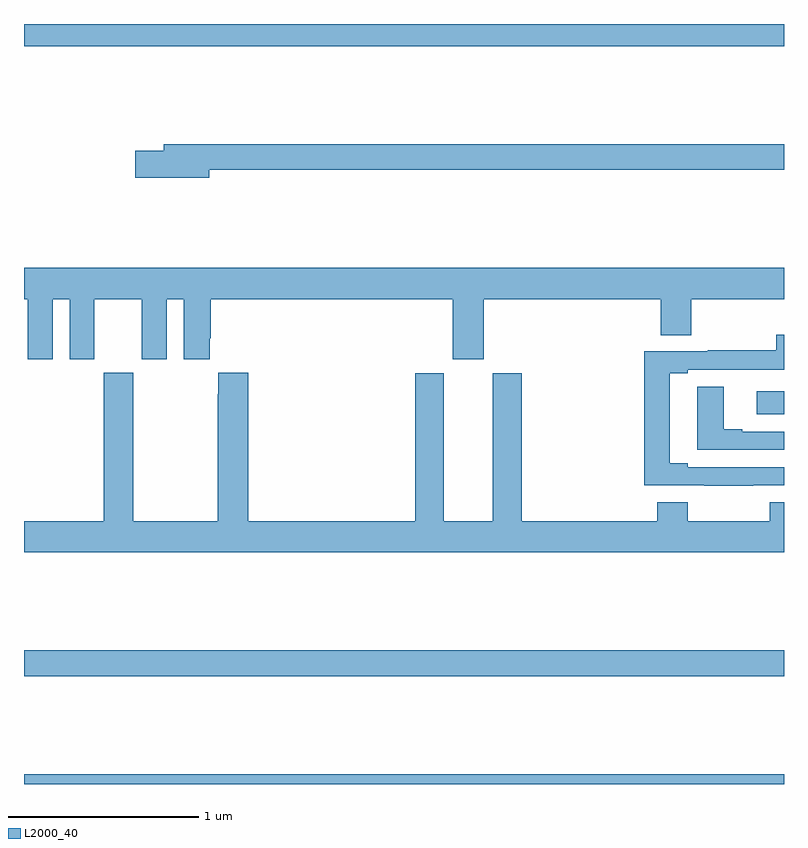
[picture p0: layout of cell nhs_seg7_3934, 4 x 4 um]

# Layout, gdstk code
import gdstk
lib = gdstk.Library(unit=1e-6, precision=1e-09)
def R(c, l, rs):  # rectangles x0, y0, x1, y1
    for r in rs: c.add(gdstk.rectangle(r[:2], r[2:], *l))
def P(c, l, *ps):  # polygons
    for p in ps: c.add(gdstk.Polygon(p, *l))
L2000_40 = (2000, 40)

nhs_seg7_3934 = lib.new_cell('nhs_seg7_3934')
R(nhs_seg7_3934, L2000_40, [(359,1062,363,1062.052), (359,1062.568,363,1062.704), (362.856,1063.946,363,1064.068), (359,1065.884,363,1066)])
P(nhs_seg7_3934, L2000_40, [(359.974,1065.232),(363,1065.232),(363,1065.368),(359.735,1065.368),(359.735,1065.332),(359.586,1065.332),(359.586,1065.19),(359.974,1065.19)],
  [(359.152,1064.552),(359.24,1064.552),(359.24,1064.235),(359.371,1064.235),(359.371,1064.552),(359.621,1064.552),(359.621,1064.235),(359.752,1064.235),(359.752,1064.552),(359.84,1064.552),(359.84,1064.235),(359.977,1064.235),(359.977,1064.347),(359.984,1064.347),(359.984,1064.552),(361.256,1064.552),(361.256,1064.235),(361.42,1064.235),(361.42,1064.552),(362.351,1064.552),(362.351,1064.362),(362.511,1064.362),(362.511,1064.552),(363,1064.552),(363,1064.716),(359,1064.716),(359,1064.552),(359.021,1064.552),(359.021,1064.235),(359.152,1064.235)],
  [(362.837,1063.572),(363,1063.572),(363,1063.668),(362.494,1063.668),(362.494,1063.688),(362.398,1063.688),(362.398,1064.161),(362.494,1064.161),(362.494,1064.181),(363,1064.181),(363,1064.365),(362.958,1064.365),(362.958,1064.282),(362.599,1064.282),(362.599,1064.277),(362.264,1064.277),(362.264,1063.572),(362.581,1063.572),(362.581,1063.571),(362.837,1063.571)],
  [(363,1063.483),(362.926,1063.483),(362.926,1063.384),(362.493,1063.384),(362.493,1063.483),(362.333,1063.483),(362.333,1063.384),(361.619,1063.384),(361.619,1064.163),(361.466,1064.163),(361.466,1063.384),(361.21,1063.384),(361.21,1064.163),(361.058,1064.163),(361.058,1063.384),(360.179,1063.384),(360.179,1064.164),(360.023,1064.164),(360.023,1064.051),(360.019,1064.051),(360.019,1063.384),(359.574,1063.384),(359.574,1064.164),(359.419,1064.164),(359.419,1063.384),(359,1063.384),(359,1063.22),(363,1063.22)],
  [(363,1063.854),(362.779,1063.854),(362.779,1063.867),(362.683,1063.867),(362.683,1064.092),(362.543,1064.092),(362.543,1063.758),(363,1063.758)])

lib.write_gds('nhs_seg7_3934.gds')
